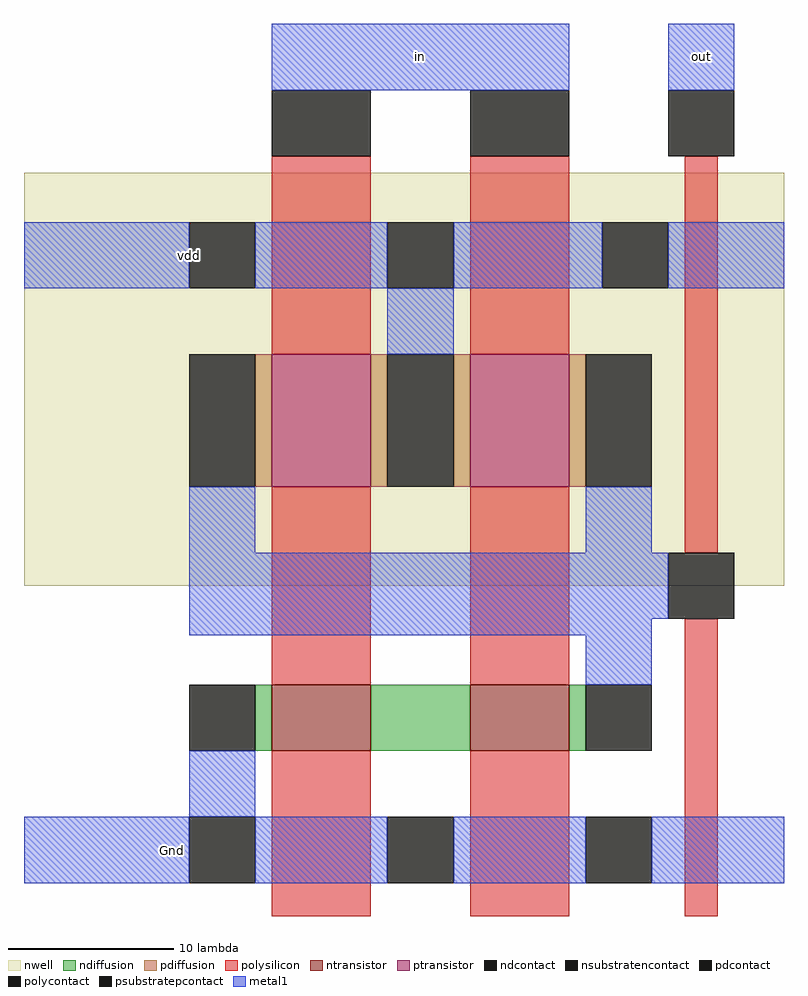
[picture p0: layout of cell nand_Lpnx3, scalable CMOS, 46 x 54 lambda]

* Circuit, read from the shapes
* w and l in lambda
.subckt nand_Lpnx3 Gnd in out vdd
M1 n1 in Gnd Gnd nfet w=4 l=6
M2 out in n1 Gnd nfet w=4 l=6
M3 vdd in out vdd pfet w=8 l=6 m=2
.ends

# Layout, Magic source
magic
tech scmos
<< nwell >>
rect -22 1 24 26
<< ntransistor >>
rect -7 -9 -1 -5
rect 5 -9 11 -5
<< ptransistor >>
rect -7 7 -1 15
rect 5 7 11 15
<< ndiffusion >>
rect -8 -9 -7 -5
rect -1 -9 5 -5
rect 11 -9 12 -5
<< pdiffusion >>
rect -8 7 -7 15
rect -1 7 0 15
rect 4 7 5 15
rect 11 7 12 15
<< ndcontact >>
rect -12 -9 -8 -5
rect 12 -9 16 -5
<< pdcontact >>
rect -12 7 -8 15
rect 0 7 4 15
rect 12 7 16 15
<< psubstratepcontact >>
rect -12 -17 -8 -13
rect 0 -17 4 -13
rect 12 -17 16 -13
<< nsubstratencontact >>
rect -12 19 -8 23
rect 0 19 4 23
rect 13 19 17 23
<< polysilicon >>
rect -7 15 -1 27
rect 5 15 11 27
rect -7 -5 -1 7
rect 5 -5 11 7
rect 18 3 20 27
rect -7 -19 -1 -9
rect 5 -19 11 -9
rect 18 -19 20 -1
<< polycontact >>
rect -7 27 -1 31
rect 5 27 11 31
rect 17 27 21 31
rect 17 -1 21 3
<< metal1 >>
rect -7 31 11 35
rect 17 31 21 35
rect -22 19 -12 23
rect -8 19 0 23
rect 4 19 13 23
rect 17 19 24 23
rect 0 15 4 19
rect -12 3 -8 7
rect 12 3 16 7
rect -12 -1 17 3
rect -12 -2 16 -1
rect 12 -5 16 -2
rect -12 -13 -8 -9
rect -22 -17 -12 -13
rect -8 -17 0 -13
rect 4 -17 12 -13
rect 16 -17 24 -13
<< labels >>
rlabel metal1 0 31 4 35 5 in
rlabel metal1 -14 19 -10 23 3 vdd
rlabel metal1 -15 -17 -11 -13 2 Gnd
rlabel metal1 17 31 21 35 6 out
<< end >>
